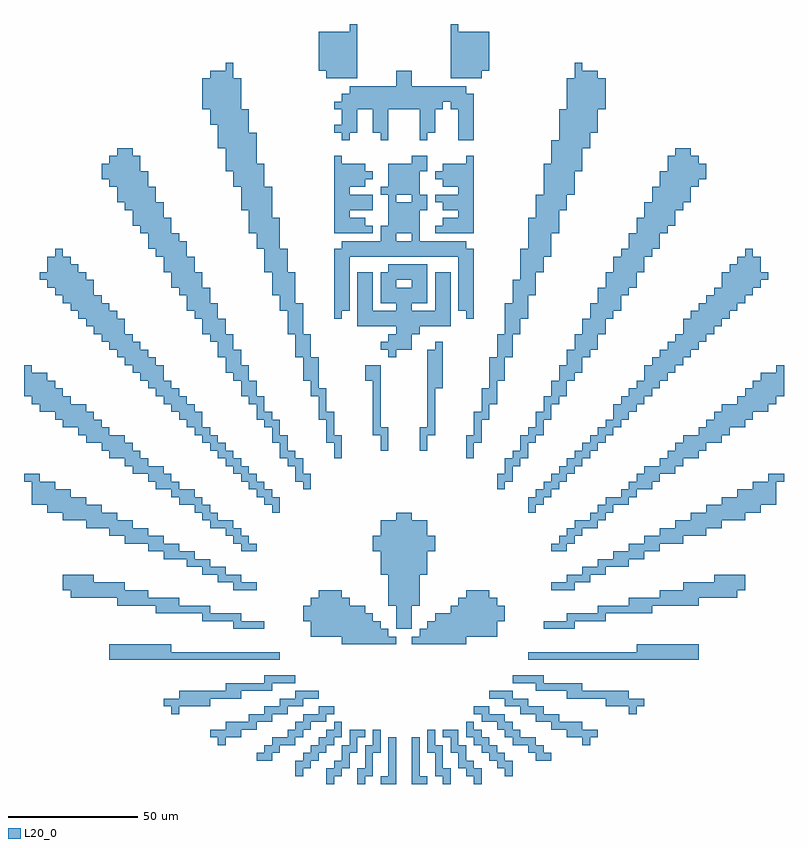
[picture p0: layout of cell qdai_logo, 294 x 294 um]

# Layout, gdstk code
import gdstk
lib = gdstk.Library(unit=1e-6, precision=1e-09)
def R(c, l, rs):  # rectangles x0, y0, x1, y1
    for r in rs: c.add(gdstk.rectangle(r[:2], r[2:], *l))
def P(c, l, *ps):  # polygons
    for p in ps: c.add(gdstk.Polygon(p, *l))
L20_0 = (20, 0)

qdai_logo = lib.new_cell('qdai_logo')
R(qdai_logo, L20_0, [(-9,-147,-6,-144), (-6,-147,-3,-129), (-24,-141,-21,-132), (21,-141,24,-132), (-21,-135,-18,-126), (-12,-135,-9,-126), (9,-135,12,-126), (18,-135,21,-129), (42,-132,45,-129), (-27,-129,-24,-123), (-18,-129,-15,-126), (15,-129,21,-126), (24,-129,27,-123), (-39,-123,-30,-120), (30,-123,39,-120), (-33,-120,-27,-117), (27,-120,33,-117), (-48,-117,-39,-114), (39,-117,48,-114), (-42,-114,-33,-111), (33,-114,42,-111), (51,-111,54,-108), (42,-108,54,-105), (-114,-99,-111,-96), (-66,-87,-54,-84), (54,-87,66,-84), (-39,-81,-36,-78), (-6,-78,-3,-75), (-66,-72,-57,-69), (57,-72,66,-69), (-72,-69,-63,-66), (-63,-57,-57,-54), (-12,-57,-9,-51), (57,-57,63,-54), (-66,-54,-60,-51), (60,-54,66,-51), (-75,-48,-72,-45), (72,-48,75,-45), (-51,-42,-48,-36), (48,-42,51,-36), (-54,-39,-51,-33), (51,-39,54,-33), (-57,-36,-54,-30), (54,-36,57,-30), (-60,-33,-57,-27), (-39,-33,-36,-27), (36,-33,39,-27), (57,-33,60,-27), (-147,-30,-144,-27), (-63,-30,-60,-24), (-42,-30,-39,-21), (39,-30,42,-21), (60,-30,63,-24), (-66,-27,-63,-21), (63,-27,66,-21), (-27,-21,-24,-12), (24,-21,27,-12), (-9,-18,-6,-9), (6,-18,9,-9), (45,-15,48,-12), (-141,48,-138,51), (-117,87,-114,93), (-75,126,-72,129), (-24,126,-21,129), (-33,129,-30,132)])
P(qdai_logo, L20_0, [(-30,126),(-30,132),(-33,132),(-33,144),(-21,144),(-21,147),(-18,147),(-18,126),(-21,126),(-21,129),(-24,129),(-24,126)],
  [(18,126),(18,147),(21,147),(21,144),(33,144),(33,129),(30,129),(30,126)],
  [(-30,-15),(-30,-6),(-33,-6),(-33,3),(-36,3),(-36,9),(-39,9),(-39,18),(-42,18),(-42,27),(-45,27),(-45,36),(-48,36),(-48,42),(-51,42),(-51,51),(-54,51),(-54,60),(-57,60),(-57,66),(-60,66),(-60,75),(-63,75),(-63,84),(-66,84),(-66,90),(-69,90),(-69,99),(-72,99),(-72,108),(-75,108),(-75,114),(-78,114),(-78,126),(-72,126),(-72,129),(-69,129),(-69,132),(-66,132),(-66,126),(-63,126),(-63,114),(-60,114),(-60,105),(-57,105),(-57,93),(-54,93),(-54,84),(-51,84),(-51,72),(-48,72),(-48,60),(-45,60),(-45,51),(-42,51),(-42,39),(-39,39),(-39,27),(-36,27),(-36,18),(-33,18),(-33,6),(-30,6),(-30,-3),(-27,-3),(-27,-15)],
  [(27,-15),(27,-3),(30,-3),(30,6),(33,6),(33,18),(36,18),(36,27),(39,27),(39,39),(42,39),(42,48),(45,48),(45,60),(48,60),(48,72),(51,72),(51,81),(54,81),(54,93),(57,93),(57,102),(60,102),(60,114),(63,114),(63,126),(66,126),(66,132),(69,132),(69,129),(75,129),(75,126),(78,126),(78,114),(75,114),(75,105),(72,105),(72,99),(69,99),(69,90),(66,90),(66,81),(63,81),(63,75),(60,75),(60,66),(57,66),(57,57),(54,57),(54,51),(51,51),(51,42),(48,42),(48,33),(45,33),(45,27),(42,27),(42,18),(39,18),(39,9),(36,9),(36,0),(33,0),(33,-6),(30,-6),(30,-15)],
  [(-24,102),(-24,105),(-27,105),(-27,108),(-24,108),(-24,114),(-27,114),(-27,117),(-24,117),(-24,120),(-21,120),(-21,123),(-3,123),(-3,129),(3,129),(3,123),(24,123),(24,120),(27,120),(27,102),(21,102),(21,114),(18,114),(18,117),(15,117),(15,114),(12,114),(12,105),(9,105),(9,102),(6,102),(6,114),(-6,114),(-6,102),(-9,102),(-9,105),(-12,105),(-12,114),(-18,114),(-18,105),(-21,105),(-21,102)],
  [(-45,-24),(-45,-21),(-48,-21),(-48,-15),(-51,-15),(-51,-9),(-54,-9),(-54,-6),(-57,-6),(-57,0),(-60,0),(-60,3),(-63,3),(-63,9),(-66,9),(-66,12),(-69,12),(-69,18),(-72,18),(-72,24),(-75,24),(-75,27),(-78,27),(-78,33),(-81,33),(-81,36),(-84,36),(-84,42),(-87,42),(-87,45),(-90,45),(-90,51),(-93,51),(-93,57),(-96,57),(-96,60),(-99,60),(-99,66),(-102,66),(-102,69),(-105,69),(-105,75),(-108,75),(-108,78),(-111,78),(-111,84),(-114,84),(-114,96),(-111,96),(-111,99),(-105,99),(-105,96),(-102,96),(-102,90),(-99,90),(-99,84),(-96,84),(-96,78),(-93,78),(-93,72),(-90,72),(-90,66),(-87,66),(-87,63),(-84,63),(-84,57),(-81,57),(-81,51),(-78,51),(-78,45),(-75,45),(-75,39),(-72,39),(-72,33),(-69,33),(-69,27),(-66,27),(-66,21),(-63,21),(-63,15),(-60,15),(-60,9),(-57,9),(-57,3),(-54,3),(-54,-3),(-51,-3),(-51,-6),(-48,-6),(-48,-12),(-45,-12),(-45,-18),(-42,-18),(-42,-24)],
  [(48,-15),(48,-9),(51,-9),(51,-3),(54,-3),(54,3),(57,3),(57,9),(60,9),(60,15),(63,15),(63,21),(66,21),(66,27),(69,27),(69,33),(72,33),(72,39),(75,39),(75,45),(78,45),(78,51),(81,51),(81,57),(84,57),(84,60),(87,60),(87,66),(90,66),(90,72),(93,72),(93,78),(96,78),(96,84),(99,84),(99,90),(102,90),(102,96),(105,96),(105,99),(111,99),(111,96),(114,96),(114,93),(117,93),(117,87),(114,87),(114,84),(111,84),(111,78),(108,78),(108,75),(105,75),(105,69),(102,69),(102,66),(99,66),(99,60),(96,60),(96,57),(93,57),(93,51),(90,51),(90,45),(87,45),(87,42),(84,42),(84,36),(81,36),(81,33),(78,33),(78,27),(75,27),(75,21),(72,21),(72,18),(69,18),(69,12),(66,12),(66,9),(63,9),(63,3),(60,3),(60,0),(57,0),(57,-6),(54,-6),(54,-12),(51,-12),(51,-15)],
  [(-27,66),(-27,96),(-24,96),(-24,93),(-15,93),(-15,90),(-12,90),(-12,87),(-15,87),(-15,84),(-21,84),(-21,81),(-12,81),(-12,75),(-21,75),(-21,72),(-15,72),(-15,69),(-12,69),(-12,66)],
  [(12,66),(12,69),(15,69),(15,72),(21,72),(21,75),(15,75),(15,78),(12,78),(12,81),(21,81),(21,84),(15,84),(15,87),(12,87),(12,90),(15,90),(15,93),(24,93),(24,96),(27,96),(27,66)],
  [(-69,-24),(-69,-21),(-72,-21),(-72,-18),(-75,-18),(-75,-15),(-78,-15),(-78,-12),(-81,-12),(-81,-9),(-84,-9),(-84,-6),(-87,-6),(-87,-3),(-90,-3),(-90,0),(-93,0),(-93,3),(-96,3),(-96,6),(-99,6),(-99,9),(-102,9),(-102,12),(-105,12),(-105,15),(-108,15),(-108,18),(-111,18),(-111,21),(-114,21),(-114,24),(-117,24),(-117,27),(-120,27),(-120,30),(-123,30),(-123,33),(-126,33),(-126,36),(-129,36),(-129,39),(-132,39),(-132,42),(-135,42),(-135,45),(-138,45),(-138,57),(-135,57),(-135,60),(-132,60),(-132,57),(-129,57),(-129,54),(-126,54),(-126,51),(-123,51),(-123,48),(-120,48),(-120,42),(-117,42),(-117,39),(-114,39),(-114,36),(-111,36),(-111,33),(-108,33),(-108,27),(-105,27),(-105,24),(-102,24),(-102,21),(-99,21),(-99,18),(-96,18),(-96,15),(-93,15),(-93,9),(-90,9),(-90,6),(-87,6),(-87,3),(-84,3),(-84,0),(-81,0),(-81,-3),(-78,-3),(-78,-9),(-75,-9),(-75,-12),(-72,-12),(-72,-15),(-69,-15),(-69,-18),(-66,-18),(-66,-24)],
  [(66,-24),(66,-18),(69,-18),(69,-15),(72,-15),(72,-12),(75,-12),(75,-9),(78,-9),(78,-6),(81,-6),(81,0),(84,0),(84,3),(87,3),(87,6),(90,6),(90,9),(93,9),(93,15),(96,15),(96,18),(99,18),(99,21),(102,21),(102,24),(105,24),(105,27),(108,27),(108,33),(111,33),(111,36),(114,36),(114,39),(117,39),(117,42),(120,42),(120,45),(123,45),(123,51),(126,51),(126,54),(129,54),(129,57),(132,57),(132,60),(135,60),(135,57),(138,57),(138,51),(141,51),(141,48),(138,48),(138,45),(135,45),(135,42),(132,42),(132,39),(129,39),(129,36),(126,36),(126,33),(123,33),(123,30),(120,30),(120,27),(117,27),(117,24),(114,24),(114,21),(111,21),(111,18),(108,18),(108,15),(105,15),(105,12),(102,12),(102,9),(99,9),(99,6),(96,6),(96,3),(93,3),(93,0),(90,0),(90,-3),(87,-3),(87,-6),(84,-6),(84,-9),(81,-9),(81,-12),(78,-12),(78,-15),(75,-15),(75,-18),(72,-18),(72,-21),(69,-21),(69,-24)],
  [(-6,18),(-6,21),(-9,21),(-9,24),(-6,24),(-6,27),(-3,27),(-3,30),(-18,30),(-18,51),(-12,51),(-12,36),(-3,36),(-3,39),(-9,39),(-9,45),(-3,45),(3,45),(3,48),(-3,48),(-3,45),(-9,45),(-9,51),(-6,51),(-6,54),(9,54),(9,39),(3,39),(3,36),(12,36),(12,51),(18,51),(18,30),(6,30),(6,27),(3,27),(3,21),(-3,21),(-3,18)],
  [(9,-12),(9,21),(12,21),(12,24),(15,24),(15,6),(12,6),(12,-12)],
  [(-78,-45),(-78,-42),(-81,-42),(-81,-39),(-87,-39),(-87,-36),(-90,-36),(-90,-33),(-96,-33),(-96,-30),(-99,-30),(-99,-27),(-105,-27),(-105,-24),(-108,-24),(-108,-21),(-114,-21),(-114,-18),(-117,-18),(-117,-15),(-123,-15),(-123,-12),(-126,-12),(-126,-9),(-132,-9),(-132,-6),(-135,-6),(-135,-3),(-141,-3),(-141,0),(-144,0),(-144,3),(-147,3),(-147,15),(-144,15),(-144,12),(-138,12),(-138,9),(-135,9),(-135,6),(-132,6),(-132,3),(-129,3),(-129,0),(-123,0),(-123,-3),(-120,-3),(-120,-6),(-117,-6),(-117,-9),(-114,-9),(-114,-12),(-108,-12),(-108,-15),(-105,-15),(-105,-18),(-102,-18),(-102,-21),(-99,-21),(-99,-24),(-93,-24),(-93,-27),(-90,-27),(-90,-30),(-87,-30),(-87,-33),(-81,-33),(-81,-36),(-78,-36),(-78,-39),(-75,-39),(-75,-42),(-72,-42),(-72,-45)],
  [(-12,-12),(-12,9),(-15,9),(-15,15),(-9,15),(-9,-12)],
  [(72,-45),(72,-42),(75,-42),(75,-39),(78,-39),(78,-36),(84,-36),(84,-33),(87,-33),(87,-30),(90,-30),(90,-27),(93,-27),(93,-24),(99,-24),(99,-21),(102,-21),(102,-18),(105,-18),(105,-15),(108,-15),(108,-12),(114,-12),(114,-9),(117,-9),(117,-6),(120,-6),(120,-3),(123,-3),(123,0),(129,0),(129,3),(132,3),(132,6),(135,6),(135,9),(138,9),(138,12),(144,12),(144,15),(147,15),(147,3),(144,3),(144,0),(141,0),(141,-3),(135,-3),(135,-6),(132,-6),(132,-9),(126,-9),(126,-12),(123,-12),(123,-15),(117,-15),(117,-18),(114,-18),(114,-21),(108,-21),(108,-24),(105,-24),(105,-27),(99,-27),(99,-30),(96,-30),(96,-33),(90,-33),(90,-36),(87,-36),(87,-39),(81,-39),(81,-42),(78,-42),(78,-45)],
  [(42,-24),(42,-18),(45,-18),(45,-15),(48,-15),(48,-21),(45,-21),(45,-24)],
  [(-78,-66),(-78,-63),(-84,-63),(-84,-60),(-93,-60),(-93,-57),(-99,-57),(-99,-54),(-108,-54),(-108,-51),(-114,-51),(-114,-48),(-123,-48),(-123,-45),(-132,-45),(-132,-42),(-138,-42),(-138,-39),(-144,-39),(-144,-27),(-141,-27),(-141,-30),(-135,-30),(-135,-33),(-129,-33),(-129,-36),(-123,-36),(-123,-39),(-117,-39),(-117,-42),(-111,-42),(-111,-45),(-105,-45),(-105,-48),(-99,-48),(-99,-51),(-93,-51),(-93,-54),(-87,-54),(-87,-57),(-81,-57),(-81,-60),(-75,-60),(-75,-63),(-69,-63),(-69,-66)],
  [(63,-69),(63,-66),(69,-66),(69,-63),(75,-63),(75,-60),(81,-60),(81,-57),(87,-57),(87,-54),(93,-54),(93,-51),(99,-51),(99,-48),(105,-48),(105,-45),(111,-45),(111,-42),(117,-42),(117,-39),(123,-39),(123,-36),(129,-36),(129,-33),(135,-33),(135,-30),(141,-30),(141,-27),(147,-27),(147,-30),(144,-30),(144,-39),(138,-39),(138,-42),(132,-42),(132,-45),(123,-45),(123,-48),(117,-48),(117,-51),(108,-51),(108,-54),(99,-54),(99,-57),(93,-57),(93,-60),(87,-60),(87,-63),(78,-63),(78,-66),(72,-66),(72,-69)],
  [(-3,-87),(-3,-75),(-6,-75),(-6,-66),(-9,-66),(-9,-45),(-3,-45),(-3,-42),(3,-42),(3,-45),(9,-45),(9,-51),(12,-51),(12,-57),(9,-57),(9,-66),(6,-66),(6,-78),(3,-78),(3,-87)],
  [(-69,-51),(-69,-48),(-72,-48),(-72,-45),(-66,-45),(-66,-48),(-63,-48),(-63,-51)],
  [(63,-51),(63,-48),(66,-48),(66,-45),(72,-45),(72,-48),(69,-48),(69,-51)],
  [(-78,-84),(-78,-81),(-96,-81),(-96,-78),(-111,-78),(-111,-75),(-129,-75),(-129,-72),(-132,-72),(-132,-66),(-120,-66),(-120,-69),(-108,-69),(-108,-72),(-99,-72),(-99,-75),(-87,-75),(-87,-78),(-75,-78),(-75,-81),(-63,-81),(-63,-84)],
  [(63,-84),(63,-81),(75,-81),(75,-78),(87,-78),(87,-75),(99,-75),(99,-72),(108,-72),(108,-69),(120,-69),(120,-66),(132,-66),(132,-72),(129,-72),(129,-75),(114,-75),(114,-78),(96,-78),(96,-81),(78,-81),(78,-84)],
  [(-24,-93),(-24,-90),(-36,-90),(-36,-84),(-39,-84),(-39,-81),(-36,-81),(-36,-75),(-33,-75),(-33,-72),(-24,-72),(-24,-75),(-21,-75),(-21,-78),(-15,-78),(-15,-81),(-12,-81),(-12,-84),(-9,-84),(-9,-87),(-6,-87),(-6,-90),(-3,-90),(-3,-93)],
  [(3,-93),(3,-90),(6,-90),(6,-87),(9,-87),(9,-84),(12,-84),(12,-81),(18,-81),(18,-78),(21,-78),(21,-75),(24,-75),(24,-72),(33,-72),(33,-75),(36,-75),(36,-78),(39,-78),(39,-84),(36,-84),(36,-90),(24,-90),(24,-93)],
  [(-111,-99),(-111,-96),(-114,-96),(-114,-93),(-90,-93),(-90,-96),(-48,-96),(-48,-99)],
  [(48,-99),(48,-96),(90,-96),(90,-93),(114,-93),(114,-99)],
  [(-90,-120),(-90,-117),(-93,-117),(-93,-114),(-87,-114),(-87,-111),(-69,-111),(-69,-108),(-54,-108),(-54,-105),(-42,-105),(-42,-108),(-51,-108),(-51,-111),(-63,-111),(-63,-114),(-75,-114),(-75,-117),(-87,-117),(-87,-120)],
  [(87,-120),(87,-117),(78,-117),(78,-114),(63,-114),(63,-111),(54,-111),(54,-108),(69,-108),(69,-111),(87,-111),(87,-114),(93,-114),(93,-117),(90,-117),(90,-120)],
  [(-72,-132),(-72,-129),(-75,-129),(-75,-126),(-69,-126),(-69,-123),(-60,-123),(-60,-120),(-54,-120),(-54,-117),(-45,-117),(-45,-120),(-51,-120),(-51,-123),(-57,-123),(-57,-126),(-63,-126),(-63,-129),(-69,-129),(-69,-132)],
  [(69,-132),(69,-129),(63,-129),(63,-126),(57,-126),(57,-123),(51,-123),(51,-120),(45,-120),(45,-117),(54,-117),(54,-120),(60,-120),(60,-123),(69,-123),(69,-126),(75,-126),(75,-129),(72,-129),(72,-132)],
  [(-57,-138),(-57,-135),(-54,-135),(-54,-132),(-51,-132),(-51,-129),(-45,-129),(-45,-126),(-42,-126),(-42,-123),(-36,-123),(-36,-126),(-39,-126),(-39,-129),(-42,-129),(-42,-132),(-48,-132),(-48,-135),(-51,-135),(-51,-138)],
  [(39,-129),(39,-126),(36,-126),(36,-123),(42,-123),(42,-126),(45,-126),(45,-129)],
  [(-42,-144),(-42,-138),(-39,-138),(-39,-135),(-36,-135),(-36,-132),(-33,-132),(-33,-129),(-30,-129),(-30,-126),(-27,-126),(-27,-132),(-30,-132),(-30,-135),(-33,-135),(-33,-138),(-36,-138),(-36,-141),(-39,-141),(-39,-144)],
  [(39,-144),(39,-141),(36,-141),(36,-138),(33,-138),(33,-135),(30,-135),(30,-132),(27,-132),(27,-126),(30,-126),(30,-129),(33,-129),(33,-132),(36,-132),(36,-135),(39,-135),(39,-138),(42,-138),(42,-144)],
  [(3,-147),(3,-129),(6,-129),(6,-144),(9,-144),(9,-147)],
  [(51,-138),(51,-135),(48,-135),(48,-132),(45,-132),(45,-129),(51,-129),(51,-132),(54,-132),(54,-135),(57,-135),(57,-138)],
  [(-18,-147),(-18,-141),(-15,-141),(-15,-132),(-12,-132),(-12,-144),(-15,-144),(-15,-147)],
  [(15,-147),(15,-144),(12,-144),(12,-132),(15,-132),(15,-141),(18,-141),(18,-147)],
  [(-30,-147),(-30,-141),(-27,-141),(-27,-138),(-24,-138),(-24,-144),(-27,-144),(-27,-147)],
  [(27,-147),(27,-144),(24,-144),(24,-138),(27,-138),(27,-141),(30,-141),(30,-147)],
  [(-27,33),(-27,60),(-24,60),(-24,63),(-9,63),(-3,63),(3,63),(3,66),(-3,66),(-3,63),(-9,63),(-9,69),(-6,69),(-6,78),(-3,78),(3,78),(3,81),(-3,81),(-3,78),(-6,78),(-6,81),(-9,81),(-9,84),(-6,84),(-6,93),(3,93),(3,96),(9,96),(9,90),(6,90),(6,81),(9,81),(9,75),(6,75),(6,63),(24,63),(24,60),(27,60),(27,33),(24,33),(24,36),(21,36),(21,57),(-21,57),(-21,36),(-24,36),(-24,33)])

lib.write_gds('qdai_logo.gds')
